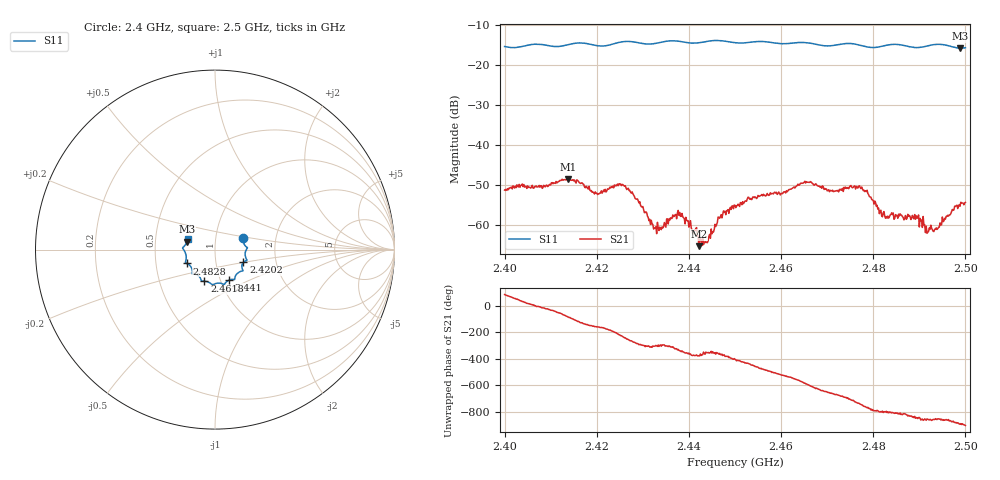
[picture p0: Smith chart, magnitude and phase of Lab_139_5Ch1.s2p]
# Hz S RI R 50
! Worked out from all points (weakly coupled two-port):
!   601 points, 2.4 GHz to 2.5 GHz, reference 50 ohm
!   highest |S21| = -48.45 dB at 2.4138 GHz (marker M1); lowest = -65.2 dB at 2.4422 GHz (marker M2)
!   lowest |S11| = -15.8 dB at 2.4988 GHz (marker M3), VSWR 1.39, Z = 36.4 + j3.3 ohm
!   |S11| at or under -10 dB: start of sweep to end of sweep
!   S12 and S22 are empty: the file has one direction only
!   S11 on the Smith chart (normalised r, x): 2.4 GHz: 1.36, +0.18; 2.4202 GHz: 1.36, -0.20; 2.441 GHz: 1.10, -0.39; 2.4618 GHz: 0.84, -0.30; 2.4828 GHz: 0.72, -0.11; 2.5 GHz: 0.73, +0.09
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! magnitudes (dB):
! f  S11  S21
! 2.4 GHz  -15.4  -51.2
! 2.4138 GHz  -14.9  -48.4
! 2.4167 GHz  -14.5  -49.4
! 2.4202 GHz  -15.2  -52.3
! 2.4257 GHz  -14.2  -49.9
! 2.4333 GHz  -14.5  -60.7
! 2.438 GHz  -14.1  -56.8
! 2.441 GHz  -14.6  -61.7
! 2.4422 GHz  -14.5  -65.2
! 2.4437 GHz  -14.2  -64.3
! 2.4468 GHz  -13.9  -57.9
! 2.45 GHz  -14.5  -55.0
! 2.4618 GHz  -14.6  -51.1
! 2.4667 GHz  -14.6  -49.4
! 2.471 GHz  -15.2  -51.4
! 2.4772 GHz  -15.1  -50.6
! 2.4828 GHz  -15.1  -57.8
! 2.4833 GHz  -15.0  -58.2
! 2.4893 GHz  -15.7  -57.7
! 2.4933 GHz  -14.9  -61.0
! 2.4988 GHz  -15.8  -55.3
! 2.5 GHz  -15.7  -54.3
